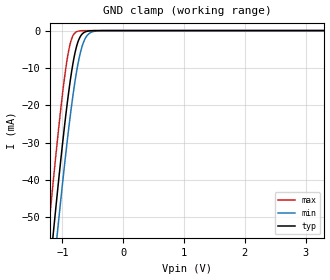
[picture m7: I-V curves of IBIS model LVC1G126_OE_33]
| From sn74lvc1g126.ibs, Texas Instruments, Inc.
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[Model]   LVC1G126_OE_33
Model_type  Input
Vinl=0.8
Vinh=2.0
| variable   typ   min   max
C_comp   1.14pF   0.88pF   1.42pF
[Temperature Range]   40   100   -40
| Ambient temperature   25   85   -40
[Voltage range]   3.3   3   3.6
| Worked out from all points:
|   GND clamp passes 1 mA (typ) near -0.68 V on its own axis
[GND Clamp]
| LVC1G126_OE_33
|   Voltage   I(typ)   I(min)   I(max)
-5.5V     -872.3mA   -880mA     -863mA
-1.235V   -68.47mA   -79.32mA   -54.53mA
-1.155V   -55.02mA   -65.9mA    -41.02mA
-1.13V    -50.91mA   -61.78mA   -36.92mA
-1.085V   -43.65mA   -54.48mA   -29.72mA
-960mV    -24.78mA   -35.18mA   -11.94mA
-865mV    -12.71mA   -22.05mA   -3.093mA
-790mV    -5.74mA    -13.27mA   -568.9uA
-715mV    -1.873mA   -6.62mA    -78.61uA
-645mV    -520uA     -2.804mA   -11.73uA
-565mV    -106.8uA   -850.2uA   -1.322uA
3.3V      1.114nA    59.61nA    6.193pA
